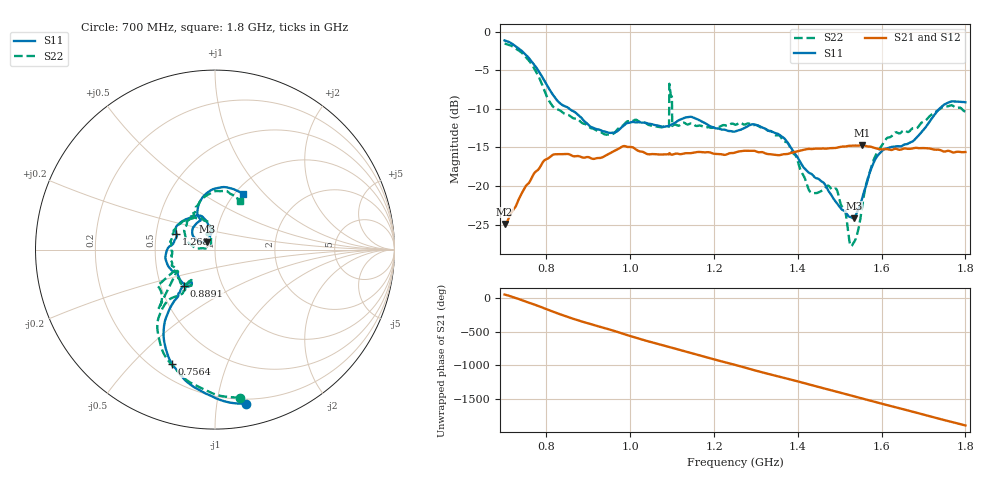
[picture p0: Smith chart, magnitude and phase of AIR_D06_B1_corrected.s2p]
! Created with skrf 1.9.0 (http://scikit-rf.org).
# Hz S RI R 50.0
!freq ReS11 ImS11 ReS21 ImS21 ReS12 ImS12 ReS22 ImS22
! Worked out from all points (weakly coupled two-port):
!   1601 points, 700 MHz to 1.8 GHz, reference 50 ohm
!   highest |S21| = -14.71 dB at 1.552 GHz (marker M1); lowest = -24.9 dB at 700 MHz (marker M2)
!   lowest |S11| = -24.2 dB at 1.533 GHz (marker M3), VSWR 1.13, Z = 45.7 + j4.11 ohm
!   |S11| at or under -10 dB: 854.4 MHz to 1.738 GHz (883.5 MHz wide, 68.2 % of centre)
!   |S22| runs from -27.8 to -1.6 dB; largest |S21 - S12| = 0.0033
!   S11 on the Smith chart (normalised r, x): 700 MHz: 0.16, -1.21; 756.4 MHz: 0.28, -0.66; 889.1 MHz: 0.66, -0.28; 1.268 GHz: 0.64, +0.12; 1.8 GHz: 1.09, +0.77
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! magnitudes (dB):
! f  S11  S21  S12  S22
! 700 MHz  -1.2  -24.9  -24.7  -1.6
! 756.4 MHz  -3.3  -19.7  -19.6  -3.7
! 814.8 MHz  -8.2  -16.0  -16.0  -9.7
! 883.6 MHz  -11.2  -16.3  -16.2  -11.8
! 889.1 MHz  -11.5  -16.3  -16.3  -11.9
! 951.6 MHz  -13.1  -15.8  -15.8  -13.3
! 1.067 GHz  -12.2  -15.9  -15.9  -12.3
! 1.087 GHz  -12.3  -15.9  -15.9  -12.2
! 1.099 GHz  -12.0  -16.0  -15.9  -8.5
! 1.106 GHz  -11.9  -15.9  -15.8  -12.1
! 1.25 GHz  -12.9  -15.7  -15.6  -12.1
! 1.268 GHz  -12.6  -15.5  -15.5  -12.0
! 1.375 GHz  -14.4  -15.9  -15.8  -14.4
! 1.434 GHz  -18.5  -15.2  -15.2  -20.9
! 1.491 GHz  -22.1  -15.1  -15.0  -20.4
! 1.533 GHz  -24.2  -14.8  -14.8  -27.3
! 1.552 GHz  -21.8  -14.7  -14.7  -23.1
! 1.58 GHz  -17.1  -15.0  -15.0  -16.8
! 1.617 GHz  -15.1  -15.3  -15.2  -13.7
! 1.676 GHz  -14.2  -15.1  -15.2  -12.5
! 1.748 GHz  -9.5  -15.5  -15.5  -9.8
! 1.8 GHz  -9.2  -15.6  -15.6  -10.4
